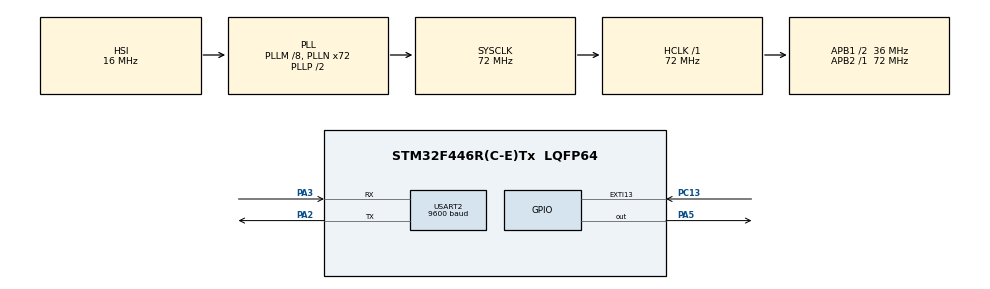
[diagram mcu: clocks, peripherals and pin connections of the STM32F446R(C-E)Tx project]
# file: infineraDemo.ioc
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FREERTOS.Tasks01=defaultTask,24,128,StartDefaultTask,Default,NULL,Dynamic,NULL,NULL;myTask02,8,128,StartTask02,Default,NULL,Dynamic,NULL,NULL
Mcu.Family=STM32F4
Mcu.Name=STM32F446R(C-E)Tx
Mcu.Package=LQFP64
NVIC.EXTI15_10_IRQn=true\:2\:0\:true\:false\:true\:false\:true\:true\:true
NVIC.PriorityGroup=NVIC_PRIORITYGROUP_4
NVIC.USART2_IRQn=true\:1\:0\:true\:false\:true\:true\:true\:true\:true
PA13.Mode=Serial_Wire
PA13.Signal=SYS_JTMS-SWDIO
PA14.Mode=Serial_Wire
PA14.Signal=SYS_JTCK-SWCLK
PA2.Mode=Asynchronous
PA2.Signal=USART2_TX
PA3.Mode=Asynchronous
PA3.Signal=USART2_RX
PA5.Signal=GPIO_Output
PC13.GPIO_ModeDefaultEXTI=GPIO_MODE_IT_RISING
PC13.Signal=GPXTI13
PH0-OSC_IN.Mode=HSE-External-Oscillator
PH0-OSC_IN.Signal=RCC_OSC_IN
PH1-OSC_OUT.Mode=HSE-External-Oscillator
PH1-OSC_OUT.Signal=RCC_OSC_OUT
ProjectManager.HeapSize=0x200
ProjectManager.StackSize=0x400
ProjectManager.TargetToolchain=MDK-ARM V5.32
RCC.AHBFreq_Value=72000000
RCC.APB1CLKDivider=RCC_HCLK_DIV2
RCC.APB1Freq_Value=36000000
RCC.APB1TimFreq_Value=72000000
RCC.APB2Freq_Value=72000000
RCC.APB2TimFreq_Value=72000000
RCC.CortexFreq_Value=72000000
RCC.HCLKFreq_Value=72000000
RCC.PLLM=8
RCC.PLLN=72
RCC.SYSCLKFreq_VALUE=72000000
RCC.SYSCLKSource=RCC_SYSCLKSOURCE_PLLCLK
RCC.USBFreq_Value=72000000
RCC.VCOOutputFreq_Value=144000000
USART2.BaudRate=9600
USART2.VirtualMode=VM_ASYNC
VP_FREERTOS_VS_CMSIS_V2.Mode=CMSIS_V2
board=custom

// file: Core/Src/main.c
/* USER CODE BEGIN Header */
/**
  ******************************************************************************
  * @file           : main.c
  * @brief          : Main program body
  ******************************************************************************
  * @attention
  *
  * Copyright (c) 2025 STMicroelectronics.
  * All rights reserved.
  *
  * This software is licensed under terms that can be found in the LICENSE file
  * in the root directory of this software component.
  * If no LICENSE file comes with this software, it is provided AS-IS.
  *
  ******************************************************************************
  */
/* USER CODE END Header */
#include "main.h"
#include "cmsis_os.h"

/* USER CODE BEGIN Includes */
#include <string.h>
#include <time.h>
#include <stdlib.h>
/* USER CODE END Includes */

/* USER CODE BEGIN PD */
#define TEST_MSGS 1
/* USER CODE END PD */

UART_HandleTypeDef huart2;

/* Definitions for defaultTask */
osThreadId_t defaultTaskHandle;
const osThreadAttr_t defaultTask_attributes = {
  .name = "defaultTask",
  .stack_size = 128 * 4,
  .priority = (osPriority_t) osPriorityNormal,
};
/* Definitions for myTask02 */
osThreadId_t myTask02Handle;
const osThreadAttr_t myTask02_attributes = {
  .name = "myTask02",
  .stack_size = 128 * 4,
  .priority = (osPriority_t) osPriorityLow,
};
/* USER CODE BEGIN PV */
uint8_t rxByte[1];
uint8_t rxBuffer[64];
uint8_t rxData[64];
uint8_t flag_data_ready = 0;
int parameters[4];
uint8_t txData[64];
/* USER CODE END PV */

void SystemClock_Config(void);
static void MX_GPIO_Init(void);
static void MX_USART2_UART_Init(void);
void StartDefaultTask(void *argument);
void StartTask02(void *argument);

/* USER CODE BEGIN PFP */
void get_data();
void f();

/* USER CODE END PFP */

int main(void)
{

  /* MCU Configuration--------------------------------------------------------*/

  /* Reset of all peripherals, Initializes the Flash interface and the Systick. */
  HAL_Init();

  /* Configure the system clock */
  SystemClock_Config();

  /* Initialize all configured peripherals */
  MX_GPIO_Init();
  MX_USART2_UART_Init();
  /* USER CODE BEGIN 2 */
	HAL_UART_Receive_IT(&huart2, rxByte, 1);
//	srand((unsigned)time(NULL));
  /* USER CODE END 2 */

  /* Init scheduler */
  osKernelInitialize();

  /* Create the thread(s) */
  /* creation of defaultTask */
  defaultTaskHandle = osThreadNew(StartDefaultTask, NULL, &defaultTask_attributes);

  /* creation of myTask02 */
  myTask02Handle = osThreadNew(StartTask02, NULL, &myTask02_attributes);

  /* Start scheduler */
  osKernelStart();

  /* We should never get here as control is now taken by the scheduler */

  /* Infinite loop */
  while (1)
  {

  }
}

void SystemClock_Config(void)
{
  RCC_OscInitTypeDef RCC_OscInitStruct = {0};
  RCC_ClkInitTypeDef RCC_ClkInitStruct = {0};

  /** Configure the main internal regulator output voltage
  */
  __HAL_RCC_PWR_CLK_ENABLE();
  __HAL_PWR_VOLTAGESCALING_CONFIG(PWR_REGULATOR_VOLTAGE_SCALE3);

  /** Initializes the RCC Oscillators according to the specified parameters
  * in the RCC_OscInitTypeDef structure.
  */
  RCC_OscInitStruct.OscillatorType = RCC_OSCILLATORTYPE_HSI;
  RCC_OscInitStruct.HSIState = RCC_HSI_ON;
  RCC_OscInitStruct.HSICalibrationValue = RCC_HSICALIBRATION_DEFAULT;
  RCC_OscInitStruct.PLL.PLLState = RCC_PLL_ON;
  RCC_OscInitStruct.PLL.PLLSource = RCC_PLLSOURCE_HSI;
  RCC_OscInitStruct.PLL.PLLM = 8;
  RCC_OscInitStruct.PLL.PLLN = 72;
  RCC_OscInitStruct.PLL.PLLP = RCC_PLLP_DIV2;
  RCC_OscInitStruct.PLL.PLLQ = 2;
  RCC_OscInitStruct.PLL.PLLR = 2;
  if (HAL_RCC_OscConfig(&RCC_OscInitStruct) != HAL_OK)
  {
    Error_Handler();
  }

  /** Initializes the CPU, AHB and APB buses clocks
  */
  RCC_ClkInitStruct.ClockType = RCC_CLOCKTYPE_HCLK|RCC_CLOCKTYPE_SYSCLK
                              |RCC_CLOCKTYPE_PCLK1|RCC_CLOCKTYPE_PCLK2;
  RCC_ClkInitStruct.SYSCLKSource = RCC_SYSCLKSOURCE_PLLCLK;
  RCC_ClkInitStruct.AHBCLKDivider = RCC_SYSCLK_DIV1;
  RCC_ClkInitStruct.APB1CLKDivider = RCC_HCLK_DIV2;
  RCC_ClkInitStruct.APB2CLKDivider = RCC_HCLK_DIV1;

  if (HAL_RCC_ClockConfig(&RCC_ClkInitStruct, FLASH_LATENCY_2) != HAL_OK)
  {
    Error_Handler();
  }
}

static void MX_USART2_UART_Init(void)
{

  huart2.Instance = USART2;
  huart2.Init.BaudRate = 9600;
  huart2.Init.WordLength = UART_WORDLENGTH_8B;
  huart2.Init.StopBits = UART_STOPBITS_1;
  huart2.Init.Parity = UART_PARITY_NONE;
  huart2.Init.Mode = UART_MODE_TX_RX;
  huart2.Init.HwFlowCtl = UART_HWCONTROL_NONE;
  huart2.Init.OverSampling = UART_OVERSAMPLING_16;
  if (HAL_UART_Init(&huart2) != HAL_OK)
  {
    Error_Handler();
  }

}

static void MX_GPIO_Init(void)
{
  GPIO_InitTypeDef GPIO_InitStruct = {0};

  /* GPIO Ports Clock Enable */
  __HAL_RCC_GPIOC_CLK_ENABLE();
  __HAL_RCC_GPIOH_CLK_ENABLE();
  __HAL_RCC_GPIOA_CLK_ENABLE();

  /*Configure GPIO pin Output Level */
  HAL_GPIO_WritePin(GPIOA, GPIO_PIN_5, GPIO_PIN_RESET);

  /*Configure GPIO pin : PC13 */
  GPIO_InitStruct.Pin = GPIO_PIN_13;
  GPIO_InitStruct.Mode = GPIO_MODE_IT_RISING;
  GPIO_InitStruct.Pull = GPIO_NOPULL;
  HAL_GPIO_Init(GPIOC, &GPIO_InitStruct);

  /*Configure GPIO pin : PA5 */
  GPIO_InitStruct.Pin = GPIO_PIN_5;
  GPIO_InitStruct.Mode = GPIO_MODE_OUTPUT_PP;
  GPIO_InitStruct.Pull = GPIO_NOPULL;
  GPIO_InitStruct.Speed = GPIO_SPEED_FREQ_LOW;
  HAL_GPIO_Init(GPIOA, &GPIO_InitStruct);

  /* EXTI interrupt init*/
  HAL_NVIC_SetPriority(EXTI15_10_IRQn, 2, 0);
  HAL_NVIC_EnableIRQ(EXTI15_10_IRQn);

}

/* USER CODE BEGIN 4 */
void get_data()
{
	int cnt = sscanf((char*)rxData,"SENSORS,%d,%d,%d,%d!", &parameters[0], &parameters[1], &parameters[2], &parameters[3]);
	//if (cnt != 4)
		//error msg
}

void f()
{
	//parameters order: rx, tx, freq, bw
	//results order: boot_time, temperature, data_throughput, error_rate
	int rx = parameters[0];
	int tx = parameters[1];
	int freq = parameters[2];
	int bw = parameters[3];
	int boot_time, temperature, error_rate;
	float data_throughput;

	double x = (double)rand() / RAND_MAX;

	if(freq > 300000)
		boot_time = 9 + x * 5;
	else
		boot_time = x * 5;

	if(rx > -3 || tx > -3)
			temperature = 45 + x * 10;
	else
			temperature = 25 + x * 5;

	if(bw < 500)
			error_rate = x * 15;
	else
			error_rate = x * 5;

	data_throughput = x;

	sprintf((char*)txData, "Sensors results: %d, %d, %.3f, %d!", boot_time, temperature, data_throughput, error_rate);
}

void HAL_UART_RxCpltCallback(UART_HandleTypeDef *huart)
{
	strcat((char*)rxBuffer, (char*)rxByte);
	if(strchr((char*)rxBuffer, '!') != NULL)
	{
		//command is compelete
		for (int i=0; i<64; i++)
			rxData[i] = '\0';
		strcpy((char*)rxData, (char*)rxBuffer);
		flag_data_ready = 1;

		for (int i=0; i<64; i++)
			rxBuffer[i] = '\0';
	}
	HAL_UART_Receive_IT(&huart2, rxByte, 1);
}

void HAL_GPIO_EXTI_Callback(uint16_t GPIO_Pin)
{
  if(GPIO_Pin == GPIO_PIN_13)
	{
		HAL_UART_Transmit(&huart2, (uint8_t*)"Button pressed!", strlen("Button pressed!"), 100);
	}
}
/* USER CODE END 4 */

void StartDefaultTask(void *argument)
{
  /* USER CODE BEGIN 5 */
	//BUZZER
	HAL_UART_Transmit(&huart2, (uint8_t*)"System booting...!", strlen((char*)"System booting...!"), 100);
	osDelay(100);
	HAL_UART_Transmit(&huart2, (uint8_t*)"Hello world :) !", strlen((char*)"Hello world :) !"), 100);
	osDelay(100);
  /* Infinite loop */
  for(;;)
  {
//		HAL_GPIO_TogglePin(GPIOA, GPIO_PIN_5);
		#if TEST_MSGS
			HAL_UART_Transmit(&huart2, (uint8_t*)"Default!", strlen("Default!"), 100);
		#endif
    osDelay(5000);
  }
  /* USER CODE END 5 */
}

void StartTask02(void *argument)
{
  /* USER CODE BEGIN StartTask02 */
  /* Infinite loop */
  for(;;)
  {
		if(flag_data_ready)
		{
			if(strstr((char*)rxData, "LED"))
			{
				#if TEST_MSGS
					HAL_UART_Transmit(&huart2, (uint8_t*)"LED test running!", strlen((char*)"LED test running!"), 100);
				#endif
				for(int i=0; i<16; i++)
				{
					HAL_GPIO_TogglePin(GPIOA, GPIO_PIN_5);
					HAL_Delay(100);
				}
			}
			else if(strstr((char*)rxData, "BOOT"))
			{
				#if TEST_MSGS
					HAL_UART_Transmit(&huart2, (uint8_t*)"BOOT test running!", strlen((char*)"BOOT test running!"), 100);
				#endif
				osDelay(100);
				NVIC_SystemReset();
			}
			else if(strstr((char*)rxData, "PING"))
			{
				#if TEST_MSGS
					HAL_UART_Transmit(&huart2, (uint8_t*)"PING test running!", strlen((char*)"PING test running!"), 100);
				#endif
				osDelay(15);
				uint8_t txBuffer[20];
				sprintf((char*)txBuffer, "Ping: %d!", rand()%200+50);
				HAL_UART_Transmit(&huart2, txBuffer, strlen((char*)txBuffer), 100);
			}
			else if(strstr((char*)rxData, "SENSORS"))
			{
				#if TEST_MSGS
//					HAL_UART_Transmit(&huart2, (uint8_t*)"SENSORS test running!", strlen((char*)"SENSORS test running!"), 100);
				#endif
				get_data(); //sets parameters[]
				f(); //sets txData
				osDelay(15);
				HAL_UART_Transmit(&huart2, txData, 64, 100);
			}
			else
				HAL_UART_Transmit(&huart2, (uint8_t*)"Invalid command!", strlen((char*)"Invalid command!"), 100);
		}
		flag_data_ready = 0;
    osDelay(10);
  }
  /* USER CODE END StartTask02 */
}

void Error_Handler(void)
{
  __disable_irq();
  while (1)
  {
  }
}
